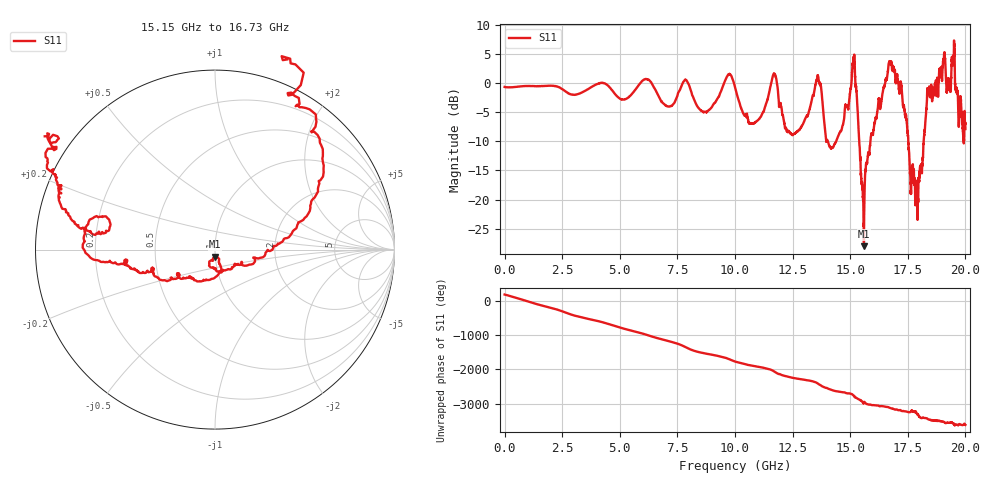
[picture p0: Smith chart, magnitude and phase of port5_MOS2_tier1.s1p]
! Created with skrf 1.8.0 (http://scikit-rf.org).
# GHz S RI R 50.0
!freq ReS11 ImS11
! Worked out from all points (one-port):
!   10001 points, 1 MHz to 20 GHz, reference 50 ohm
!   lowest |S11| = -28.0 dB at 15.6 GHz (marker M1), VSWR 1.08, Z = 49.9 - j3.98 ohm
!   |S11| at or under -10 dB: 14.03 GHz to 14.39 GHz (363.9 MHz wide, 2.56 % of centre); 15.39 GHz to 15.88 GHz (480.5 MHz wide, 3.07 % of centre); 17.52 GHz to 18.19 GHz (665.7 MHz wide, 3.73 % of centre) (the widest 3 of 6)
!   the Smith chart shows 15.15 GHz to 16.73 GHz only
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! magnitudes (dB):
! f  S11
! 1 MHz  -0.7
! 2.501 GHz  -1.0
! 5.001 GHz  -2.7
! 6.141 GHz  0.7
! 7.501 GHz  -2.2
! 7.883 GHz  0.5
! 8.705 GHz  -4.9
! 9.709 GHz  1.4
! 10 GHz  -0.7
! 10.8 GHz  -7.0
! 11.72 GHz  1.5
! 12.5 GHz  -8.9
! 13.61 GHz  1.1
! 13.99 GHz  -9.8
! 14.24 GHz  -11.0
! 15 GHz  -1.4
! 15.2 GHz  2.5
! 15.51 GHz  -17.4
! 15.6 GHz  -28.0
! 16.71 GHz  3.6
! 17.16 GHz  -1.4
! 17.5 GHz  -8.5
! 17.91 GHz  -20.7
! 18.4 GHz  -1.5
! 19.03 GHz  3.5
! 19.27 GHz  0.8
! 19.49 GHz  4.8
! 20 GHz  -7.9
